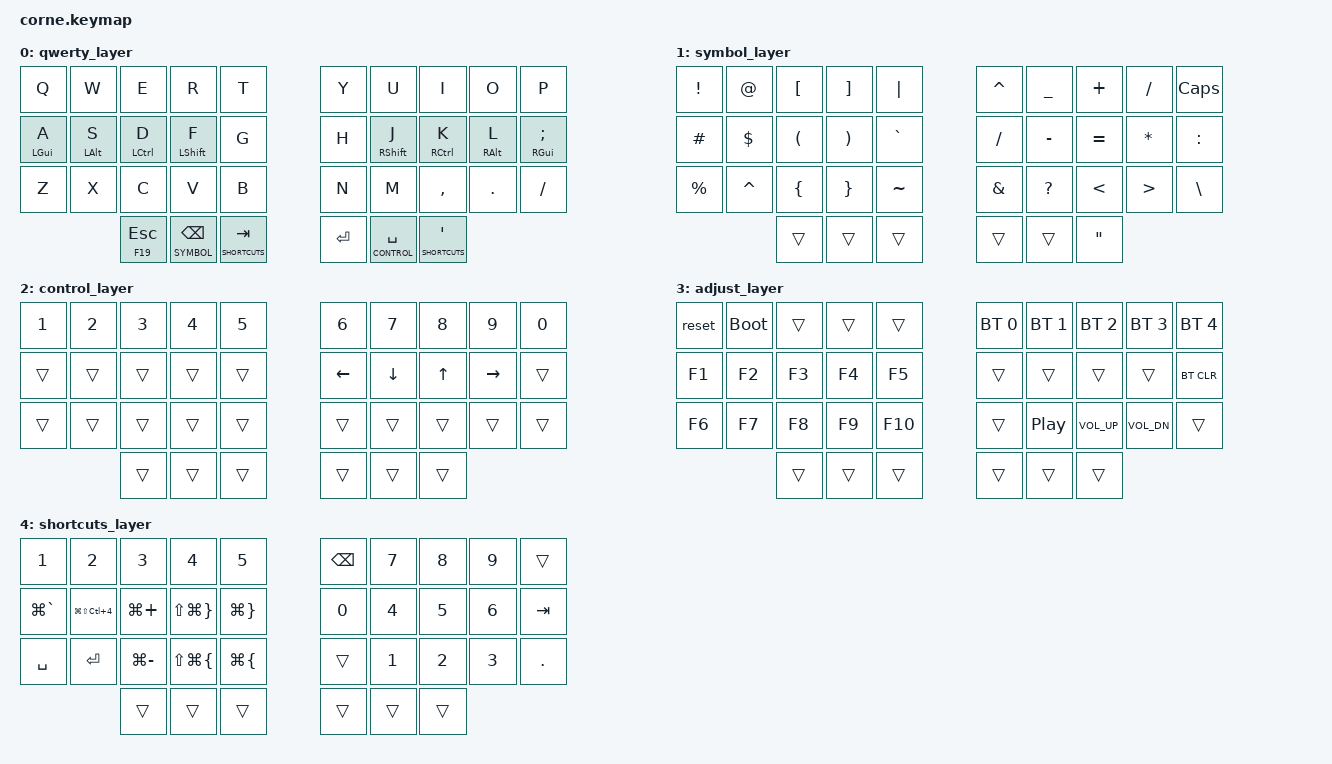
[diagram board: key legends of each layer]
/*
 * Copyright (c) 2020 The ZMK Contributors
 *
 * SPDX-License-Identifier: MIT
 */

#include <behaviors.dtsi>
#include <dt-bindings/zmk/bt.h>
#include <dt-bindings/zmk/keys.h>
#include <dt-bindings/zmk/matrix_transform.h>

/* LAYERS */
#define QWERTY    0
#define SYMBOL    1
#define CONTROL   2
#define ADJUST    3
#define SHORTCUTS 4

/* MACROS */
#define SWIN LG(GRAVE)
#define SCRN LG(LS(LC(N4)))
#define ZMIN LG(PLUS)
#define ZOUT LG(MINUS)
#define TABN LS(LG(RBRC))
#define TABP LS(LG(LBRC))
#define HBCK LG(LBRC)
#define HFWD LG(RBRC)
#define PASS LG(BSLS)

/ {
  chosen {
    zmk,matrix_transform = &five_column_transform;
  };

  combos {
    compatible = "zmk,combos";

    fn_mo {
      timeout-ms = <50>;
      key-positions = <32 34>;
      bindings = <&mo ADJUST>;
    };
  };

  behaviors {
    hm: homerow_mods {
      compatible = "zmk,behavior-hold-tap";
      label = "HOMEROW_MODS";
      #binding-cells = <2>;
      tapping-term-ms = <150>;
      quick_tap_ms = <0>;
      flavor = "tap-preferred";
      bindings = <&kp>, <&kp>;
    };
  };

  keymap {
    compatible = "zmk,keymap";

    qwerty_layer {
      bindings = <
 &kp Q           &kp W      &kp E       &kp R        &kp T &kp Y &kp U        &kp I       &kp O      &kp P
 &hm LGUI A      &hm LALT S &hm LCTRL D &hm LSHIFT F &kp G &kp H &hm RSHIFT J &hm RCTRL K &hm RALT L &hm RGUI SEMI
 &kp Z           &kp X      &kp C       &kp V        &kp B &kp N &kp M        &kp COMMA   &kp DOT    &kp FSLH
 &mt F19 ESC &lt SYMBOL BSPC &lt SHORTCUTS TAB &kp RET &lt CONTROL SPACE &lt SHORTCUTS SQT
      >;
    };
    symbol_layer {
      bindings = <
&kp EXCL    &kp AT     &kp LBKT &kp RBKT &kp PIPE  &kp CARET &kp UNDER &kp PLUS  &kp SLASH &kp CAPS
&kp HASH    &kp DOLLAR &kp LPRN &kp RPRN &kp GRAVE &kp SLASH &kp MINUS &kp EQUAL &kp STAR  &kp COLON
&kp PERCENT &kp CARET  &kp LBRC &kp RBRC &kp TILDE &kp AMPS  &kp QMARK &kp LT    &kp GT    &kp BACKSLASH
                             &trans &trans &trans &trans &trans &kp DQT
      >;
    };

    control_layer {
      bindings = <
&kp N1 &kp N2 &kp N3 &kp N4 &kp N5 &kp N6   &kp N7   &kp N8 &kp N9    &kp N0
&trans &trans &trans &trans &trans &kp LEFT &kp DOWN &kp UP &kp RIGHT &trans
&trans &trans &trans &trans &trans &trans   &trans   &trans &trans    &trans
             &trans &trans &trans &trans   &trans   &trans
      >;
    };

    adjust_layer {
      bindings = <
&reset &bootloader &trans &trans &trans  &bt BT_SEL 0 &bt BT_SEL 1     &bt BT_SEL 2 &bt BT_SEL 3 &bt BT_SEL 4
&kp F1 &kp F2      &kp F3 &kp F4 &kp F5  &trans       &trans           &trans       &trans       &bt BT_CLR
&kp F6 &kp F7      &kp F8 &kp F9 &kp F10 &trans       &kp C_PLAY_PAUSE &kp C_VOL_UP &kp C_VOL_DN &trans
                   &trans &trans &trans  &trans       &trans           &trans
      >;
   };

    shortcuts_layer {
      bindings = <
&kp N1    &kp N2    &kp N3   &kp N4   &kp N5   &kp BSPC &kp N7 &kp N8 &kp N9 &trans
&kp SWIN  &kp SCRN  &kp ZMIN &kp TABN &kp HFWD &kp N0   &kp N4 &kp N5 &kp N6 &kp TAB
&kp SPACE &kp RET   &kp ZOUT &kp TABP &kp HBCK &trans   &kp N1 &kp N2 &kp N3 &kp DOT
                  &trans    &trans   &trans   &trans   &trans &trans
      >;
    };
  };
};
